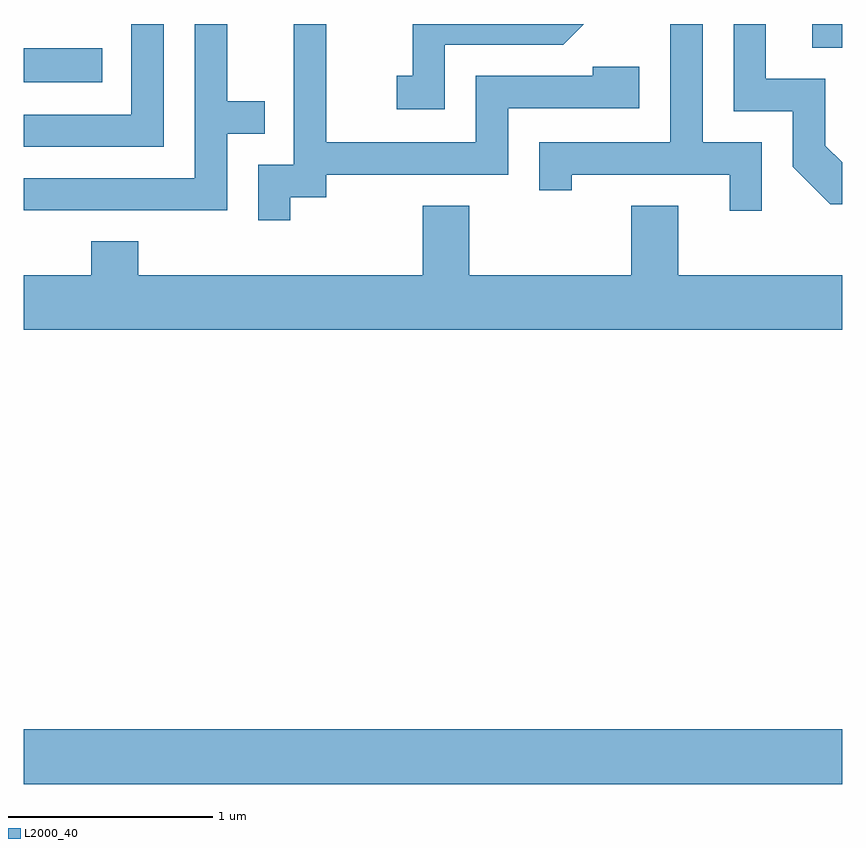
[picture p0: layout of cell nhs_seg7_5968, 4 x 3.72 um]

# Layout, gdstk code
import gdstk
lib = gdstk.Library(unit=1e-6, precision=1e-09)
def R(c, l, rs):  # rectangles x0, y0, x1, y1
    for r in rs: c.add(gdstk.rectangle(r[:2], r[2:], *l))
def P(c, l, *ps):  # polygons
    for p in ps: c.add(gdstk.Polygon(p, *l))
L2000_40 = (2000, 40)

nhs_seg7_5968 = lib.new_cell('nhs_seg7_5968')
R(nhs_seg7_5968, L2000_40, [(367.611,1716.536,371.611,1716.804), (367.611,1719.966,367.993,1720.134), (371.466,1720.136,371.611,1720.252)])
P(nhs_seg7_5968, L2000_40, [(368.604,1719.716),(368.788,1719.716),(368.788,1719.874),(368.604,1719.874),(368.604,1720.252),(368.446,1720.252),(368.446,1719.499),(367.611,1719.499),(367.611,1719.341),(368.604,1719.341)],
  [(368.914,1719.406),(369.089,1719.406),(369.089,1719.516),(369.979,1719.516),(369.979,1719.841),(370.619,1719.841),(370.619,1720.044),(370.391,1720.044),(370.391,1719.999),(369.821,1719.999),(369.821,1719.674),(369.089,1719.674),(369.089,1720.252),(368.931,1720.252),(368.931,1719.564),(368.756,1719.564),(368.756,1719.293),(368.914,1719.293)],
  [(369.669,1720.151),(370.247,1720.151),(370.348,1720.252),(369.511,1720.252),(369.511,1719.999),(369.433,1719.999),(369.433,1719.836),(369.669,1719.836)],
  [(371.219,1719.674),(370.929,1719.674),(370.929,1720.252),(370.771,1720.252),(370.771,1719.674),(370.131,1719.674),(370.131,1719.438),(370.289,1719.438),(370.289,1719.516),(371.061,1719.516),(371.061,1719.338),(371.219,1719.338)],
  [(368.294,1720.252),(368.136,1720.252),(368.136,1719.809),(367.611,1719.809),(367.611,1719.651),(368.294,1719.651)],
  [(371.611,1719.575),(371.529,1719.657),(371.529,1719.984),(371.239,1719.984),(371.239,1720.252),(371.081,1720.252),(371.081,1719.826),(371.371,1719.826),(371.371,1719.554),(371.554,1719.371),(371.611,1719.371)],
  [(371.611,1719.024),(370.809,1719.024),(370.809,1719.364),(370.581,1719.364),(370.581,1719.024),(369.789,1719.024),(369.789,1719.364),(369.561,1719.364),(369.561,1719.024),(368.169,1719.024),(368.169,1719.189),(367.941,1719.189),(367.941,1719.024),(367.611,1719.024),(367.611,1718.756),(371.611,1718.756)])

lib.write_gds('nhs_seg7_5968.gds')
